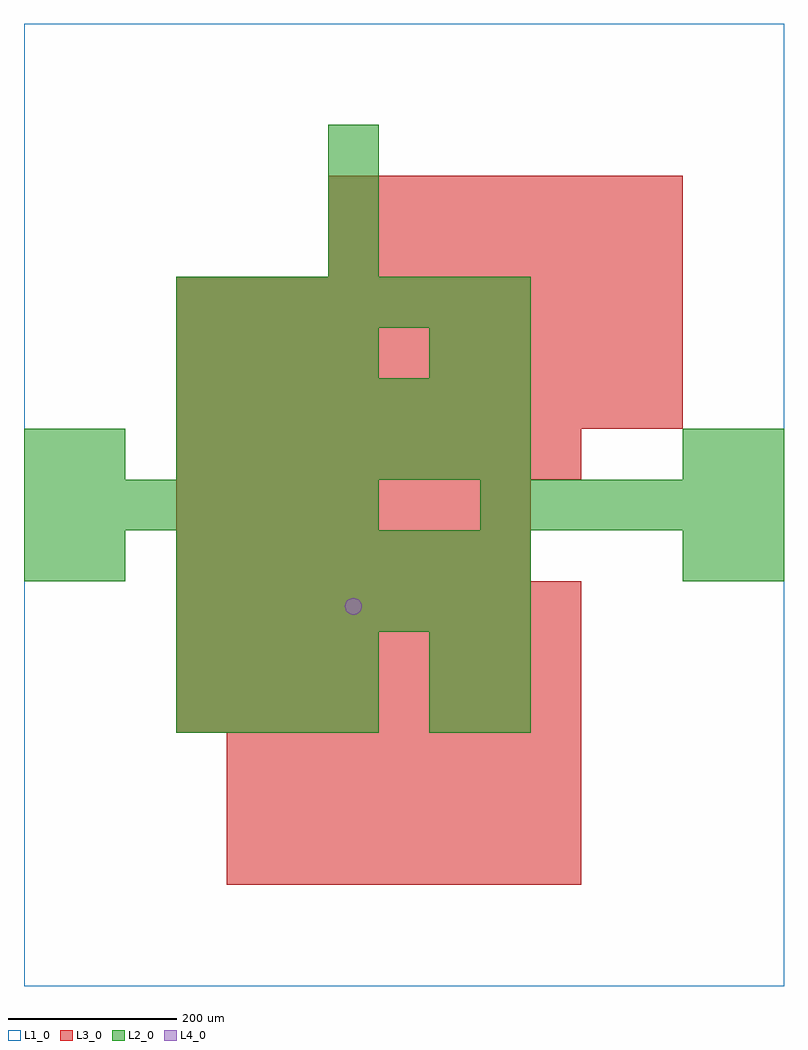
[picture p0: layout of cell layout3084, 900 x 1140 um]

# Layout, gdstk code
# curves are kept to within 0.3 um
import gdstk
lib = gdstk.Library(unit=1e-6, precision=1e-09)
def R(c, l, rs):  # rectangles x0, y0, x1, y1
    for r in rs: c.add(gdstk.rectangle(r[:2], r[2:], *l))
def A(c, l, x, y, w, h, nx, ny, dx, dy):  # array of equal rectangles
    R(c, l, [(x+i*dx, y+j*dy, x+i*dx+w, y+j*dy+h) for i in range(nx) for j in range(ny)])
def P(c, l, *ps):  # polygons
    for p in ps: c.add(gdstk.Polygon(p, *l))
L1_0 = (1, 0)
L2_0 = (2, 0)
L3_0 = (3, 0)
L4_0 = (4, 0)

layout3084 = lib.new_cell('layout3084')
R(layout3084, L1_0, [(0,0,900,1140)])
A(layout3084, L2_0, 180, 300, 60, 60, 4, 2, 60, 60)
A(layout3084, L2_0, 180, 420, 60, 60, 7, 2, 60, 60)
A(layout3084, L2_0, 0, 540, 60, 60, 7, 1, 60, 0)
A(layout3084, L2_0, 540, 540, 60, 60, 6, 1, 60, 0)
A(layout3084, L2_0, 180, 600, 60, 60, 7, 2, 60, 60)
A(layout3084, L2_0, 180, 720, 60, 60, 4, 1, 60, 0)
A(layout3084, L2_0, 180, 780, 60, 60, 7, 1, 60, 0)
A(layout3084, L2_0, 360, 840, 60, 60, 1, 3, 0, 60)
R(layout3084, L2_0, [(480,300,540,360), (540,300,600,360), (480,360,540,420), (540,360,600,420), (0,480,60,540), (60,480,120,540), (780,480,840,540), (840,480,900,540), (0,600,60,660), (60,600,120,660), (780,600,840,660), (840,600,900,660), (480,720,540,780), (540,720,600,780)])
A(layout3084, L3_0, 240, 120, 60, 60, 7, 3, 60, 60)
A(layout3084, L3_0, 180, 300, 60, 60, 8, 3, 60, 60)
A(layout3084, L3_0, 180, 480, 60, 60, 7, 2, 60, 60)
A(layout3084, L3_0, 180, 600, 60, 60, 8, 1, 60, 0)
A(layout3084, L3_0, 180, 660, 60, 60, 10, 3, 60, 60)
A(layout3084, L3_0, 360, 840, 60, 60, 7, 2, 60, 60)
P(layout3084, L4_0, [(400,450),(399.239,453.827),(397.071,457.071),(393.827,459.239),(390,460),(386.173,459.239),(382.929,457.071),(380.761,453.827),(380,450),(380.761,446.173),(382.929,442.929),(386.173,440.761),(390,440),(393.827,440.761),(397.071,442.929),(399.239,446.173)])

lib.write_gds('layout3084.gds')
